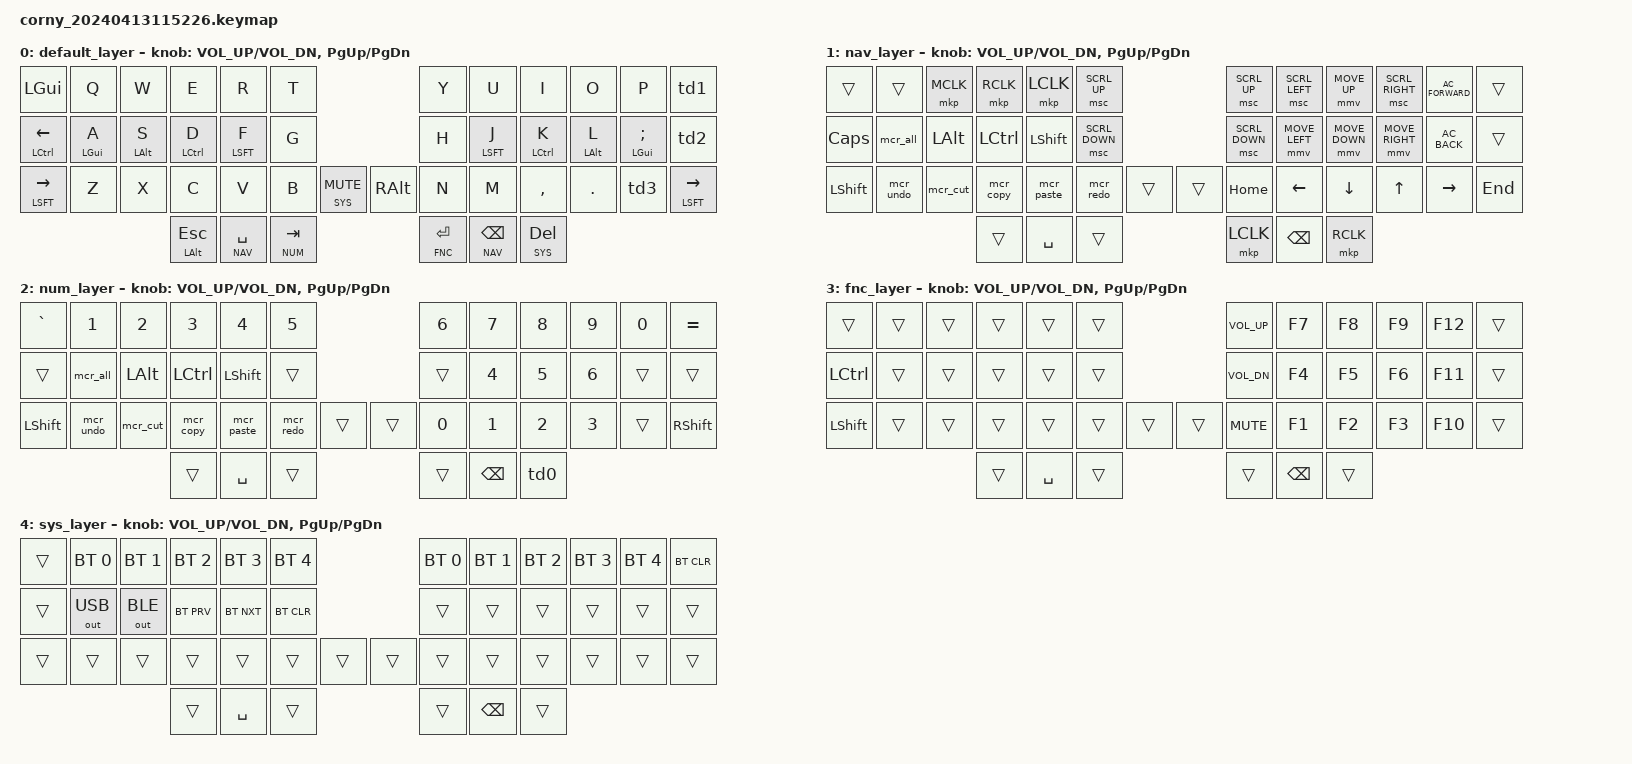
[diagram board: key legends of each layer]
#include <behaviors.dtsi>
#include <dt-bindings/zmk/keys.h>
#include <dt-bindings/zmk/bt.h>
#include <dt-bindings/zmk/outputs.h>
#include <dt-bindings/zmk/ext_power.h>
#include <dt-bindings/zmk/mouse.h>

#include <behaviors/mouse_keys.dtsi>

#define DEFAULT 0
#define NAV   1
#define NUM   2
#define FNC   3
#define SYS   4

//flavor = "hold-preferred";
//flavor = "tap-unless-interrupted";
//flavor = "balanced";
//flavor = "tap-preferred";

/ {
    combos {
        compatible = "zmk,combos";
        combo_tog_nav {
            timeout-ms = <50>;
            key-positions = <16 17>;
            bindings = <&tog NAV>;
        };
        combo_tog_nav2 {
            timeout-ms = <50>;
            key-positions = <18 19>;
            bindings = <&tog NAV>;
        };
        combo_ralt {
            timeout-ms = <50>;
            key-positions = <28 29>;
            bindings = <&kp RALT>;
        };
        combo_ralt2 {
            timeout-ms = <50>;
            key-positions = <32 33>;
            bindings = <&kp RALT>;
        };
    };
};

/ {
    behaviors {
        hm1: hm1 {
            compatible = "zmk,behavior-hold-tap";
            label = "HOMEROW_MODS1";
            #binding-cells = <2>;
            tapping-term-ms = <150>;
            quick-tap-ms = <0>;
			flavor = "tap-preferred";
            bindings = <&kp>, <&kp>;
        };
        hm2: hm2 {
            compatible = "zmk,behavior-hold-tap";
            label = "HOMEROW_MODS2";
            #binding-cells = <2>;
            tapping-term-ms = <200>;
            quick-tap-ms = <0>;
			flavor = "tap-preferred";
            bindings = <&kp>, <&kp>;
        };
        hm3: hm3 {
            compatible = "zmk,behavior-hold-tap";
            label = "HOMEROW_MODS3";
            #binding-cells = <2>;
            tapping-term-ms = <250>;
            quick-tap-ms = <0>;
            flavor = "tap-preferred";
            bindings = <&kp>, <&kp>;
        };
        hm4: hm4 {
            compatible = "zmk,behavior-hold-tap";
            label = "HOMEROW_MODS3";
            #binding-cells = <2>;
            tapping-term-ms = <350>;
            quick-tap-ms = <0>;
            flavor = "tap-preferred";
            bindings = <&kp>, <&kp>;
        };
        td0: tap_dance_0 {
            compatible = "zmk,behavior-tap-dance";
            label = "TAP_DANCE_0";
            #binding-cells = <0>;
            tapping-term-ms = <200>;
            bindings = <&kp MINUS>, <&kp EQUAL>;
        };
        td1: tap_dance_1 {
            compatible = "zmk,behavior-tap-dance";
            label = "TAP_DANCE_1";
            #binding-cells = <0>;
            tapping-term-ms = <200>;
            bindings = <&kp LBKT>, <&kp RBKT>;
        };
        td2: tap_dance_2 {
            compatible = "zmk,behavior-tap-dance";
            label = "TAP_DANCE_2";
            #binding-cells = <0>;
            tapping-term-ms = <200>;
            bindings = <&kp SQT>, <&kp GRAVE>;
        };
        td3: tap_dance_3 {
            compatible = "zmk,behavior-tap-dance";
            label = "TAP_DANCE_3";
            #binding-cells = <0>;
            tapping-term-ms = <200>;
            bindings = <&kp FSLH>, <&kp BSLH>;
        };
    };
};

/ {
    macros {
        mcr_undo: mcr_undo {
            label = "mcr_undo";
            compatible = "zmk,behavior-macro";
            #binding-cells = <0>;
            bindings
                = <&macro_press &kp LCTRL>
                , <&macro_tap &kp Z>
                , <&macro_release &kp LCTRL>
                ;
        };
        mcr_cut: mcr_cut {
            label = "mcr_cut";
            compatible = "zmk,behavior-macro";
            #binding-cells = <0>;
            bindings
                = <&macro_press &kp LCTRL>
                , <&macro_tap &kp X>
                , <&macro_release &kp LCTRL>
                ;
        };
        mcr_copy: mcr_copy {
            label = "mcr_copy";
            compatible = "zmk,behavior-macro";
            #binding-cells = <0>;
            bindings
                = <&macro_press &kp LCTRL>
                , <&macro_tap &kp C>
                , <&macro_release &kp LCTRL>
                ;
        };
        mcr_paste: mcr_paste {
            label = "mcr_paste";
            compatible = "zmk,behavior-macro";
            #binding-cells = <0>;
            bindings
                = <&macro_press &kp LCTRL>
                , <&macro_tap &kp V>
                , <&macro_release &kp LCTRL>
                ;
        };
        mcr_redo: mcr_redo {
            label = "mcr_redo";
            compatible = "zmk,behavior-macro";
            #binding-cells = <0>;
            bindings
                = <&macro_press &kp LCTRL>
                , <&macro_press &kp LSHFT>
                , <&macro_tap &kp Z>
                , <&macro_release &kp LSHFT>
                , <&macro_release &kp LCTRL>
                ;
        };
        mcr_all: mcr_all {
            label = "mcr_all";
            compatible = "zmk,behavior-macro";
            #binding-cells = <0>;
            bindings
                = <&macro_press &kp LCTRL>
                , <&macro_tap &kp A>
                , <&macro_release &kp LCTRL>
                ;
        };
    };
};

&mmv {
    delay-ms = <0>;
    time-to-max-speed-ms = <400>;
};

&msc {
    delay-ms = <0>;
    acceleration-exponent=<2>;
    time-to-max-speed-ms = <500>;
};

/ {
	keymap {
		compatible = "zmk,keymap";

		default_layer {
			bindings = <
&kp LGUI        &kp Q           &kp W           &kp E           &kp R          &kp T                                                  &kp Y               &kp U                &kp I              &kp O              &kp P                &td1
&hm2 LCTL LEFT  &hm4 LGUI A     &hm3 LALT S     &hm3 LCTL D     &hm2 LSFT F    &kp G                                                  &kp H               &hm1 LSFT J          &hm3 LCTL K        &hm3 LALT L        &hm4 LGUI SEMI       &td2
&hm2 LSFT RIGHT &kp Z           &kp X           &kp C           &kp V          &kp B             &lt SYS C_MUTE    &kp RALT           &kp N               &kp M                &kp COMMA          &kp DOT            &td3                 &hm2 LSFT RIGHT
                                                &hm4 LALT ESC   &lt NAV SPACE  &lt NUM TAB                                            &lt FNC RET         &lt NAV BSPC         &lt SYS DEL 
			>;

			sensor-bindings = <&inc_dec_kp C_VOL_UP C_VOL_DN &inc_dec_kp PG_UP PG_DN>;
		};

		nav_layer {
			bindings = <
&trans          &trans          &mkp MCLK       &mkp RCLK       &mkp LCLK       &msc SCRL_UP                                           &msc SCRL_UP        &msc SCRL_LEFT      &mmv MOVE_UP       &msc SCRL_RIGHT   &kp C_AC_FORWARD    &trans
&kp CAPS        &mcr_all        &kp LALT        &kp LCTRL       &kp LSHFT       &msc SCRL_DOWN                                         &msc SCRL_DOWN      &mmv MOVE_LEFT      &mmv MOVE_DOWN     &mmv MOVE_RIGHT   &kp C_AC_BACK       &trans
&kp LSHFT       &mcr_undo       &mcr_cut        &mcr_copy       &mcr_paste      &mcr_redo         &trans            &trans             &kp HOME            &kp LEFT            &kp DOWN           &kp UP            &kp RIGHT           &kp END
                                                &trans          &kp SPACE       &trans                                                 &mkp LCLK           &kp BSPC            &mkp RCLK
			>;

			sensor-bindings = <&inc_dec_kp C_VOL_UP C_VOL_DN &inc_dec_kp PG_UP PG_DN>;
		};

		num_layer {
			bindings = <
&kp GRAVE       &kp N1          &kp N2          &kp N3          &kp N4          &kp N5                                                 &kp N6              &kp N7              &kp N8             &kp N9            &kp N0              &kp EQUAL
&trans          &mcr_all        &kp LALT        &kp LCTRL       &kp LSHFT       &trans                                                 &trans              &kp N4              &kp N5             &kp N6            &trans              &trans
&kp LSHFT       &mcr_undo       &mcr_cut        &mcr_copy       &mcr_paste      &mcr_redo         &trans            &trans             &kp N0              &kp N1              &kp N2             &kp N3            &trans              &kp RSHFT
                                                &trans          &kp SPACE       &trans                                                 &trans              &kp BSPC            &td0
			>;

			sensor-bindings = <&inc_dec_kp C_VOL_UP C_VOL_DN &inc_dec_kp PG_UP PG_DN>;
		};

		fnc_layer {
			bindings = <
&trans          &trans          &trans          &trans          &trans          &trans                                                 &kp C_VOL_UP        &kp F7              &kp F8             &kp F9            &kp F12              &trans
&kp LCTRL       &trans          &trans          &trans          &trans          &trans                                                 &kp C_VOL_DN        &kp F4              &kp F5             &kp F6            &kp F11              &trans
&kp LSHFT       &trans          &trans          &trans          &trans          &trans            &trans            &trans             &kp C_MUTE          &kp F1              &kp F2             &kp F3            &kp F10              &trans
                                                &trans          &kp SPACE       &trans                                                 &trans              &kp BSPC            &trans
			>;

			sensor-bindings = <&inc_dec_kp C_VOL_UP C_VOL_DN &inc_dec_kp PG_UP PG_DN>;
		};

		sys_layer {
			bindings = <
&trans          &bt BT_SEL 0    &bt BT_SEL 1    &bt BT_SEL 2    &bt BT_SEL 3    &bt BT_SEL 4                                           &bt BT_SEL 0        &bt BT_SEL 1        &bt BT_SEL 2       &bt BT_SEL 3      &bt BT_SEL 4        &bt BT_CLR
&trans          &out OUT_USB    &out OUT_BLE    &bt BT_PRV      &bt BT_NXT      &bt BT_CLR                                             &trans              &trans              &trans             &trans            &trans              &trans
&trans          &trans          &trans          &trans          &trans          &trans            &trans            &trans             &trans              &trans              &trans             &trans            &trans              &trans
                                                &trans          &kp SPACE       &trans                                                 &trans              &kp BSPC            &trans
			>;

			sensor-bindings = <&inc_dec_kp C_VOL_UP C_VOL_DN &inc_dec_kp PG_UP PG_DN>;
		};
	};
};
